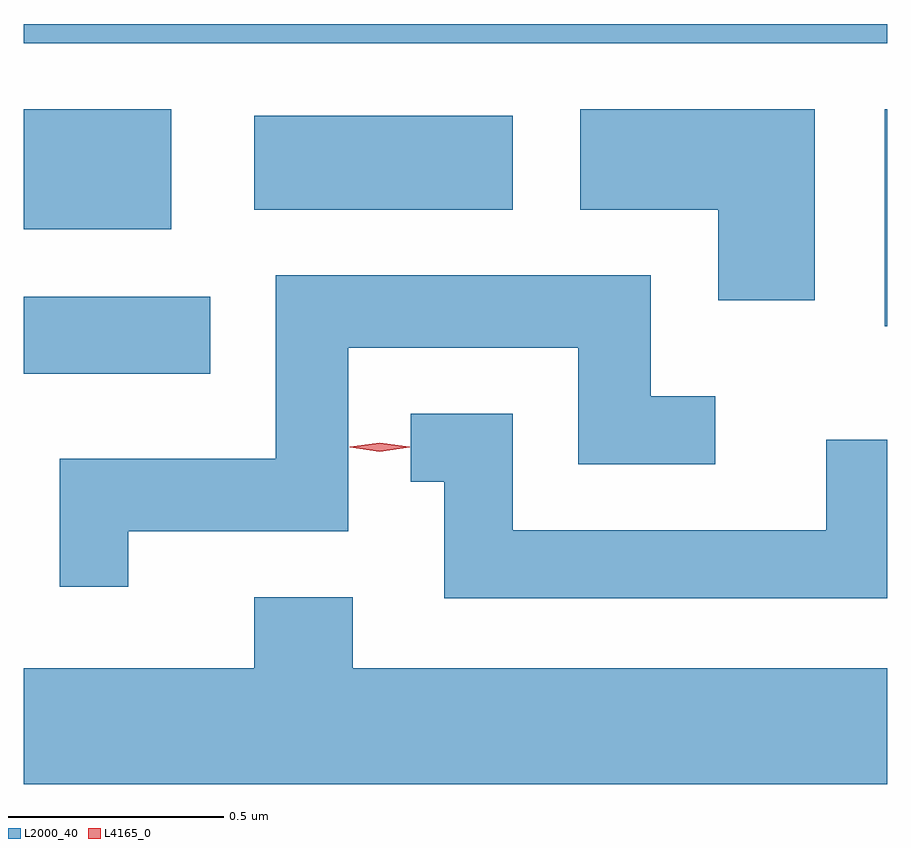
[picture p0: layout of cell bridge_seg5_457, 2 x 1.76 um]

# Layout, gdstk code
import gdstk
lib = gdstk.Library(unit=1e-6, precision=1e-09)
def R(c, l, rs):  # rectangles x0, y0, x1, y1
    for r in rs: c.add(gdstk.rectangle(r[:2], r[2:], *l))
def P(c, l, *ps):  # polygons
    for p in ps: c.add(gdstk.Polygon(p, *l))
L2000_40 = (2000, 40)
L4165_0 = (4165, 0)

bridge_seg5_457 = lib.new_cell('bridge_seg5_457')
R(bridge_seg5_457, L2000_40, [(380.107,1511.026,380.539,1511.204), (382.101,1511.136,382.107,1511.639), (380.107,1511.361,380.449,1511.639), (380.641,1511.406,381.239,1511.624), (380.107,1511.791,382.107,1511.836)])
P(bridge_seg5_457, L2000_40, [(381.939,1511.639),(381.396,1511.639),(381.396,1511.406),(381.716,1511.406),(381.716,1511.196),(381.939,1511.196)],
  [(380.349,1510.661),(380.859,1510.661),(380.859,1511.086),(381.391,1511.086),(381.391,1510.816),(381.708,1510.816),(381.708,1510.974),(381.559,1510.974),(381.559,1511.254),(380.691,1511.254),(380.691,1510.829),(380.191,1510.829),(380.191,1510.533),(380.349,1510.533)],
  [(382.107,1510.873),(381.966,1510.873),(381.966,1510.664),(381.239,1510.664),(381.239,1510.934),(381.003,1510.934),(381.003,1510.776),(381.081,1510.776),(381.081,1510.506),(382.107,1510.506)],
  [(382.107,1510.344),(380.869,1510.344),(380.869,1510.509),(380.641,1510.509),(380.641,1510.344),(380.107,1510.344),(380.107,1510.076),(382.107,1510.076)])
P(bridge_seg5_457, L4165_0, [(380.932,1510.846),(380.862,1510.856),(380.862,1510.857),(380.862,1510.857),(380.932,1510.866),(381.001,1510.857),(381.001,1510.856),(381.001,1510.856)])

lib.write_gds('bridge_seg5_457.gds')
